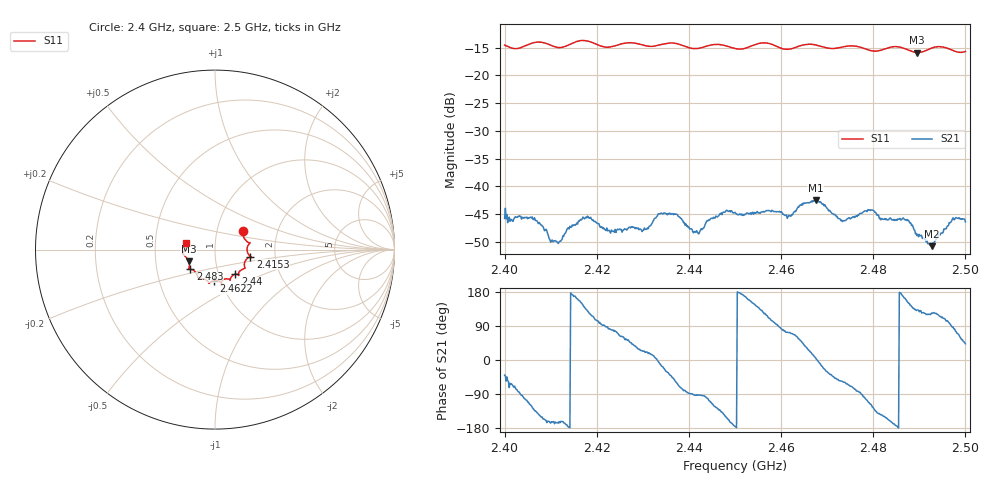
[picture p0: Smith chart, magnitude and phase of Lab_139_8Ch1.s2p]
# Hz S RI R 50
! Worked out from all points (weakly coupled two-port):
!   601 points, 2.4 GHz to 2.5 GHz, reference 50 ohm
!   highest |S21| = -42.49 dB at 2.4675 GHz (marker M1); lowest = -50.8 dB at 2.4927 GHz (marker M2)
!   lowest |S11| = -15.9 dB at 2.4895 GHz (marker M3), VSWR 1.38, Z = 36.9 - j5 ohm
!   |S11| at or under -10 dB: start of sweep to end of sweep
!   S12 and S22 are empty: the file has one direction only
!   S11 on the Smith chart (normalised r, x): 2.4 GHz: 1.33, +0.29; 2.4153 GHz: 1.48, -0.12; 2.44 GHz: 1.21, -0.34; 2.4622 GHz: 0.93, -0.33; 2.483 GHz: 0.74, -0.17; 2.5 GHz: 0.72, +0.06
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2.4e9  0.155 0.1062  0.00394 -0.00328  0 0  0 0
2.406e9  0.1919 0.0383  -0.003 -0.00435  0 0  0 0
2.411167e9  0.1798 0.0116  -0.00309 -0.00082  0 0  0 0
2.415333e9  0.1963 -0.0386  -0.00435 0.000916  0 0  0 0
2.416667e9  0.2022 -0.0425  -0.00434 0.00243  0 0  0 0
2.429667e9  0.156 -0.1083  0.00366 0.0017  0 0  0 0
2.433333e9  0.131 -0.1334  0.00563 -0.000395  0 0  0 0
2.437e9  0.1321 -0.1434  0.00323 -0.00456  0 0  0 0
2.44e9  0.1141 -0.1367  0.000134 -0.00429  0 0  0 0
2.45e9  0.0645 -0.1625  -0.0058 -0.000499  0 0  0 0
2.462167e9  -0.00726 -0.1738  0.00184 0.00507  0 0  0 0
2.466667e9  -0.0343 -0.1878  0.00707 0.00209  0 0  0 0
2.4675e9  -0.0351 -0.185  0.00747 0.00072  0 0  0 0
2.473333e9  -0.0827 -0.1603  0.00267 -0.00399  0 0  0 0
2.479333e9  -0.1051 -0.1308  -0.00269 -0.00542  0 0  0 0
2.483e9  -0.1377 -0.1097  -0.0045 -0.00211  0 0  0 0
2.483333e9  -0.1401 -0.1096  -0.00464 -0.00186  0 0  0 0
2.487333e9  -0.1432 -0.0939  -0.00454 0.00215  0 0  0 0
2.4895e9  -0.1466 -0.066  -0.00238 0.00269  0 0  0 0
2.492667e9  -0.1738 -0.0294  -0.00162 0.00239  0 0  0 0
2.4975e9  -0.1666 -0.00101  0.000677 0.00495  0 0  0 0
2.5e9  -0.1598 0.0392  0.0035 0.00325  0 0  0 0
